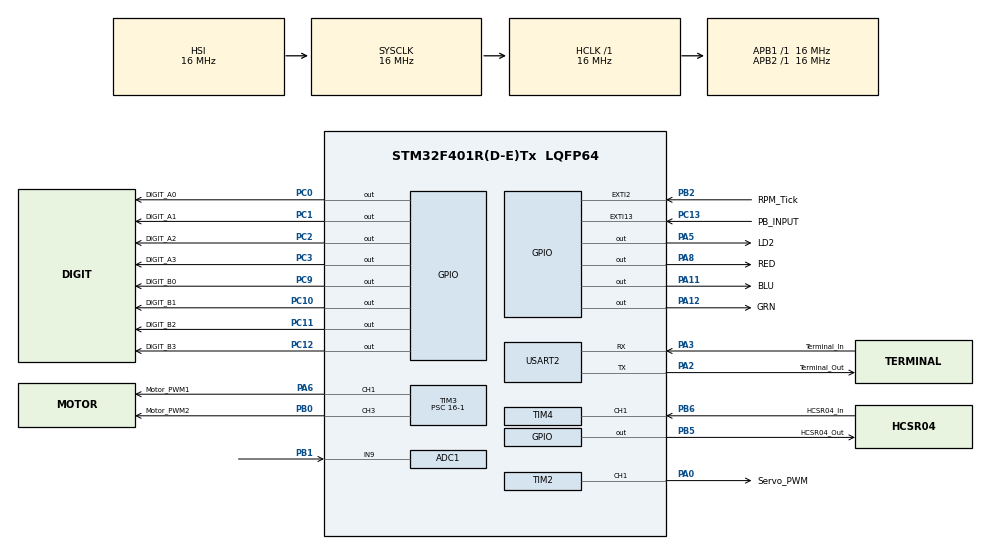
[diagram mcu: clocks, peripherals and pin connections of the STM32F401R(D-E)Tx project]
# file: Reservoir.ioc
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ADC1.Channel-0\#ChannelRegularConversion=ADC_CHANNEL_9
ADC1.NbrOfConversionFlag=1
ADC1.Rank-0\#ChannelRegularConversion=1
ADC1.Resolution=ADC_RESOLUTION_8B
ADC1.SamplingTime-0\#ChannelRegularConversion=ADC_SAMPLETIME_3CYCLES
ADC1.master=1
Mcu.Family=STM32F4
Mcu.Name=STM32F401R(D-E)Tx
Mcu.Package=LQFP64
NVIC.EXTI15_10_IRQn=true\:0\:0\:false\:false\:true\:true\:true\:true
NVIC.EXTI2_IRQn=true\:0\:0\:false\:false\:true\:true\:true\:true
NVIC.PriorityGroup=NVIC_PRIORITYGROUP_4
NVIC.TIM4_IRQn=true\:0\:0\:false\:false\:true\:true\:true\:true
NVIC.TIM5_IRQn=true\:0\:0\:false\:false\:true\:true\:true\:true
NVIC.USART2_IRQn=true\:0\:0\:false\:false\:true\:true\:true\:true
PA0-WKUP.GPIO_Label=Servo_PWM
PA0-WKUP.Signal=S_TIM2_CH1_ETR
PA11.GPIO_Label=BLU
PA11.Signal=GPIO_Output
PA12.GPIO_Label=GRN
PA12.Signal=GPIO_Output
PA13.GPIO_Label=TMS
PA13.Mode=Trace_Asynchronous_SW
PA13.Signal=SYS_JTMS-SWDIO
PA14.GPIO_Label=TCK
PA14.Mode=Trace_Asynchronous_SW
PA14.Signal=SYS_JTCK-SWCLK
PA2.GPIO_Label=Terminal_Out
PA2.GPIO_Mode=GPIO_MODE_AF_PP
PA2.GPIO_PuPd=GPIO_NOPULL
PA2.GPIO_Speed=GPIO_SPEED_FREQ_LOW
PA2.Mode=Asynchronous
PA2.Signal=USART2_TX
PA3.GPIO_Label=Terminal_In
PA3.GPIO_Mode=GPIO_MODE_AF_PP
PA3.GPIO_PuPd=GPIO_NOPULL
PA3.GPIO_Speed=GPIO_SPEED_FREQ_LOW
PA3.Mode=Asynchronous
PA3.Signal=USART2_RX
PA5.GPIO_Label=LD2
PA5.GPIO_Mode=GPIO_MODE_OUTPUT_PP
PA5.GPIO_PuPd=GPIO_NOPULL
PA5.GPIO_Speed=GPIO_SPEED_FREQ_LOW
PA5.Signal=GPIO_Output
PA6.GPIO_Label=Motor_PWM1
PA6.Signal=S_TIM3_CH1
PA8.GPIO_Label=RED
PA8.Signal=GPIO_Output
PB0.GPIO_Label=Motor_PWM2
PB0.Signal=S_TIM3_CH3
PB1.Signal=ADCx_IN9
PB2.GPIO_Label=RPM_Tick
PB2.Signal=GPXTI2
PB3.GPIO_Label=SWO
PB3.Mode=Trace_Asynchronous_SW
PB3.Signal=SYS_JTDO-SWO
PB5.GPIO_Label=HCSR04_Out
PB5.Signal=GPIO_Output
PB6.GPIO_Label=HCSR04_In
PB6.Signal=S_TIM4_CH1
PC0.GPIO_Label=DIGIT_A0
PC0.Signal=GPIO_Output
PC1.GPIO_Label=DIGIT_A1
PC1.Signal=GPIO_Output
PC10.GPIO_Label=DIGIT_B1
PC10.Signal=GPIO_Output
PC11.GPIO_Label=DIGIT_B2
PC11.Signal=GPIO_Output
PC12.GPIO_Label=DIGIT_B3
PC12.Signal=GPIO_Output
PC13-ANTI_TAMP.GPIO_Label=PB_INPUT
PC13-ANTI_TAMP.GPIO_ModeDefaultEXTI=GPIO_MODE_IT_FALLING
PC13-ANTI_TAMP.GPIO_PuPd=GPIO_NOPULL
PC13-ANTI_TAMP.Signal=GPXTI13
PC14-OSC32_IN.Mode=LSE-External-Oscillator
PC14-OSC32_IN.Signal=RCC_OSC32_IN
PC15-OSC32_OUT.Mode=LSE-External-Oscillator
PC15-OSC32_OUT.Signal=RCC_OSC32_OUT
PC2.GPIO_Label=DIGIT_A2
PC2.Signal=GPIO_Output
PC3.GPIO_Label=DIGIT_A3
PC3.Signal=GPIO_Output
PC9.GPIO_Label=DIGIT_B0
PC9.Signal=GPIO_Output
PH0\ -\ OSC_IN.Mode=HSE-External-Clock-Source
PH0\ -\ OSC_IN.Signal=RCC_OSC_IN
PH1\ -\ OSC_OUT.Mode=HSE-External-Clock-Source
PH1\ -\ OSC_OUT.Signal=RCC_OSC_OUT
ProjectManager.HeapSize=0x200
ProjectManager.StackSize=0x400
ProjectManager.TargetToolchain=STM32CubeIDE
RCC.48MHZClocksFreq_Value=48000000
RCC.AHBFreq_Value=16000000
RCC.APB1Freq_Value=16000000
RCC.APB1TimFreq_Value=16000000
RCC.APB2Freq_Value=16000000
RCC.APB2TimFreq_Value=16000000
RCC.CortexFreq_Value=16000000
RCC.HCLKFreq_Value=16000000
RCC.HSE_VALUE=8000000
RCC.HSI_VALUE=16000000
RCC.PLLN=336
RCC.PLLP=RCC_PLLP_DIV4
RCC.PLLQ=7
RCC.SYSCLKFreq_VALUE=16000000
RCC.VCOOutputFreq_Value=336000000
SH.ADCx_IN9.0=ADC1_IN9,IN9
SH.S_TIM2_CH1_ETR.0=TIM2_CH1,PWM Generation1 CH1
SH.S_TIM3_CH1.0=TIM3_CH1,PWM Generation1 CH1
SH.S_TIM3_CH3.0=TIM3_CH3,PWM Generation3 CH3
SH.S_TIM4_CH1.0=TIM4_CH1,Input_Capture1_from_TI1
TIM2.Channel-PWM\ Generation1\ CH1=TIM_CHANNEL_1
TIM2.Period=20000-1
TIM2.Prescaler=16-1
TIM2.Pulse-PWM\ Generation1\ CH1=500-1
TIM3.Channel-PWM\ Generation1\ CH1=TIM_CHANNEL_1
TIM3.Channel-PWM\ Generation3\ CH3=TIM_CHANNEL_3
TIM3.Period=2000-1
TIM3.Prescaler=16-1
TIM3.Pulse-PWM\ Generation1\ CH1=1200-1
TIM4.Channel-Input_Capture1_from_TI1=TIM_CHANNEL_1
TIM4.ICPolarity_CH1=TIM_INPUTCHANNELPOLARITY_BOTHEDGE
TIM4.Prescaler=16-1
TIM5.Period=60000-1
TIM5.Prescaler=53-1
USART2.VirtualMode=VM_ASYNC
VP_TIM3_VS_ClockSourceINT.Mode=Internal
VP_TIM4_VS_ClockSourceINT.Mode=Internal
VP_TIM5_VS_ClockSourceINT.Mode=Internal
board=NUCLEO-F401RE

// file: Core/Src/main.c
/* USER CODE BEGIN Header */
/**
  ******************************************************************************
  * @file           : main.c
  * @brief          : Main program body
  ******************************************************************************
  * @attention
  *
  * Copyright (c) 2026 STMicroelectronics.
  * All rights reserved.
  *
  * This software is licensed under terms that can be found in the LICENSE file
  * in the root directory of this software component.
  * If no LICENSE file comes with this software, it is provided AS-IS.
  *
  ******************************************************************************
  */
/* USER CODE END Header */
#include "main.h"

/* USER CODE BEGIN Includes */
#include <stdio.h>
#include <string.h>
/* USER CODE END Includes */

/* USER CODE BEGIN PTD */
typedef struct {
	uint8_t id;
	uint8_t pwm_option;
	uint8_t start_hour;
	uint8_t stop_hour;
} Pipeline;

typedef enum {
	SETUP,
	WAIT_B1,
	RUN,
	HALT
} Mode;
/* USER CODE END PTD */

/* USER CODE BEGIN PD */
#define TERM (&huart2)

#define FULL_PCT 		90	// any value greater than this counts as full
#define SLOTS_PER_REV 	20
#define D_FULL_CM		5
#define D_EMPTY_CM		30
#define BIT(v, n) (( (v) >> (n)) & 1 ? GPIO_PIN_SET : GPIO_PIN_RESET)
/* USER CODE END PD */

ADC_HandleTypeDef hadc1;

TIM_HandleTypeDef htim2;
TIM_HandleTypeDef htim3;
TIM_HandleTypeDef htim4;
TIM_HandleTypeDef htim5;

UART_HandleTypeDef huart2;

/* USER CODE BEGIN PV */
volatile uint8_t tick_flag 		= 0;
volatile uint32_t rpm_pulses 	= 0;
volatile uint8_t b1_flag 		= 0;
volatile uint8_t hcsr04_Rx_flag = 0;
volatile uint8_t first_edge 	= 0;
volatile uint16_t time_edge1	= 0;
volatile uint16_t time_edge2	= 0;
volatile uint8_t rcv_intpt_flag	= 0;
uint8_t byte;
uint8_t motor_dir = 0xFF;

Mode mode = SETUP;
uint8_t hour 	= 0;
uint8_t minute  = 0;

Pipeline *cur = NULL;
uint8_t cur_duty = 0;
uint8_t motor_on = 0;
uint8_t empty_event = 0;
uint8_t depth_pct 	= 0;
uint8_t filled = 0;

static const uint8_t duty_table[4] = {0, 70, 85, 99};
/* USER CODE END PV */

void SystemClock_Config(void);
static void MX_GPIO_Init(void);
static void MX_USART2_UART_Init(void);
static void MX_ADC1_Init(void);
static void MX_TIM2_Init(void);
static void MX_TIM3_Init(void);
static void MX_TIM4_Init(void);
static void MX_TIM5_Init(void);

/* USER CODE BEGIN 0 */
Pipeline plan[4];

void term_print(const char *s) {
	HAL_UART_Transmit(TERM, (uint8_t*)s, strlen(s), HAL_MAX_DELAY);
}

void HAL_TIM_PeriodElapsedCallback(TIM_HandleTypeDef *htim) {
	if (htim->Instance == TIM5) tick_flag = 1;
}

void HAL_GPIO_EXTI_Callback(uint16_t pin) {
	if (pin == RPM_Tick_Pin) rpm_pulses++;
	else if (pin == PB_INPUT_Pin) b1_flag = 1;
}

void motor_stop(void){
	TIM3->CCR1 = 0;
	TIM3->CCR3 = 0;
}

void motor_set(uint8_t duty, uint8_t reverse){
	uint32_t ccr = duty * 20;
	if (reverse != motor_dir) {
		motor_stop();
		HAL_Delay(100);
		motor_dir = reverse;
	}
	if (reverse) {
		TIM3->CCR1 = 0;
		TIM3->CCR3 = ccr;
	} else {
		TIM3->CCR3 = 0;
		TIM3->CCR1 = ccr;
	}
}
void servo_select(uint8_t id){
	static const uint16_t pulse[4] = {600, 1200, 1800, 2400};
    TIM2->CCR1 = pulse[id];
}

void rgb_write(uint8_t r, uint8_t g, uint8_t b) {
    HAL_GPIO_WritePin(RED_GPIO_Port, RED_Pin, r ? GPIO_PIN_SET : GPIO_PIN_RESET);
    HAL_GPIO_WritePin(GRN_GPIO_Port, GRN_Pin, g ? GPIO_PIN_SET : GPIO_PIN_RESET);
    HAL_GPIO_WritePin(BLU_GPIO_Port, BLU_Pin, b ? GPIO_PIN_SET : GPIO_PIN_RESET);
}

void rgb_set(uint8_t id){
    switch (id) {
    case 0: rgb_write(1, 0, 1); break;   // Inlet = 紫
    case 1: rgb_write(1, 0, 0); break;   // Zone 1 = 红
    case 2: rgb_write(0, 1, 0); break;   // Zone 2 = 绿
    case 3: rgb_write(0, 0, 1); break;   // Zone 3 = 蓝
    }
}

void rgb_off(void){
	rgb_write(0, 0, 0);
}

void rgb_white_toggle(void){
    static uint8_t on = 0;
    on = !on;
    rgb_write(on, on, on);
}

void HCSR04_TRIG_PULSE(void) {
    HAL_GPIO_WritePin(HCSR04_Out_GPIO_Port, HCSR04_Out_Pin, GPIO_PIN_SET);
    for (volatile int j = 0; j != 15; j = j + 1) {}
    HAL_GPIO_WritePin(HCSR04_Out_GPIO_Port, HCSR04_Out_Pin, GPIO_PIN_RESET);
}

uint8_t depth_read_pct(void){
    hcsr04_Rx_flag = 0;
    first_edge = 0;
    HCSR04_TRIG_PULSE();

    uint32_t t0 = HAL_GetTick();
    while (hcsr04_Rx_flag == 0) {
        if (HAL_GetTick() - t0 > 60) return depth_pct;
    }
    uint16_t time_diff = time_edge2 - time_edge1;
    int us_full  = D_FULL_CM  * 58;
    int us_empty = D_EMPTY_CM * 58;
    int pct = (us_empty - (int)time_diff) * 100 / (us_empty - us_full);
    if (pct < 0)  pct = 0;
    if (pct > 99) pct = 99;
    return (uint8_t)pct;
}

void display_show(uint8_t pct){
    uint8_t tens = pct / 10, ones = pct % 10;
    HAL_GPIO_WritePin(DIGIT_A0_GPIO_Port, DIGIT_A0_Pin, BIT(tens, 0));
    HAL_GPIO_WritePin(DIGIT_A1_GPIO_Port, DIGIT_A1_Pin, BIT(tens, 1));
    HAL_GPIO_WritePin(DIGIT_A2_GPIO_Port, DIGIT_A2_Pin, BIT(tens, 2));
    HAL_GPIO_WritePin(DIGIT_A3_GPIO_Port, DIGIT_A3_Pin, BIT(tens, 3));
    HAL_GPIO_WritePin(DIGIT_B0_GPIO_Port, DIGIT_B0_Pin, BIT(ones, 0));
    HAL_GPIO_WritePin(DIGIT_B1_GPIO_Port, DIGIT_B1_Pin, BIT(ones, 1));
    HAL_GPIO_WritePin(DIGIT_B2_GPIO_Port, DIGIT_B2_Pin, BIT(ones, 2));
    HAL_GPIO_WritePin(DIGIT_B3_GPIO_Port, DIGIT_B3_Pin, BIT(ones, 3));
}
uint8_t pot_read_pct(void){
	HAL_ADC_Start(&hadc1);
	HAL_ADC_PollForConversion(&hadc1, 1000);
	uint32_t v = HAL_ADC_GetValue(&hadc1);
	HAL_ADC_Stop(&hadc1);
	return (uint8_t)(v * 100 / 255);
}

int read_number(const char *prompt, int min, int max) {
	char buf[4];
	uint8_t len, c;
	while (1) {
		term_print(prompt);
		len = 0;
		while (1) {
			rcv_intpt_flag = 0;
			HAL_UART_Receive_IT(TERM, &byte, 1);
			while (rcv_intpt_flag == 0) {}
			c = byte;
            if (c == '\r' || c == '\n') { if (len) break; else continue; }
            if (c >= '0' && c <= '9' && len < 3) {
                buf[len++] = c;
                HAL_UART_Transmit(TERM, &c, 1, HAL_MAX_DELAY);
            }
		}
		term_print("\r\n");
		int v = 0;
        for (uint8_t i = 0; i < len; i++) v = v * 10 + (buf[i] - '0');
        if (v >= min && v <= max) return v;
        term_print("Invalid, try again\r\n");
	}
}

void run_setup(void) {
	static const char *ord[3] = {"FIRST", "SECOND", "THIRD"};
	char p[80];

	motor_stop();
	HAL_GPIO_WritePin(LD2_GPIO_Port, LD2_Pin, GPIO_PIN_RESET);
	term_print("\r\nSETUP MODE\r\n");

	plan[0].id = 0;
	plan[0].pwm_option = read_number("INLET PIPELINE PUMP MOTOR PMW (0-3): ", 0, 3);
	for (int i = 0; i < 3; i++) {
		sprintf(p, "%s ZONE CHOIC EFOR IRRIGATION (1-3): ", ord[i]);
		plan[i + 1].id = read_number(p, 1, 3);
		sprintf(p, "%s ZONE CHOICE FOR PUMP MOTOR PWM OPTION (1-3): ", ord[i]);
		plan[i + 1].pwm_option = read_number(p, 1, 3);
	}

	plan[0].start_hour = read_number("INLET WALL CLOCK START TIME (00-23): ", 0, 23);
	plan[0].stop_hour = read_number("INLET WALL CLOCK STOP TIME (00-23)", 0, 23);
	for(int i = 0; i < 3; i++) {
		sprintf(p, "%s ZONE WALL CLOCK START TIME (00-23): ", ord[i]);
		plan[i + 1].start_hour = read_number(p, 0, 23);
		sprintf(p, "%s ZONE WALL CLOCK STOP TIME (00-23): ", ord[i]);
		plan[i + 1].stop_hour = read_number(p, 0, 23);
	}

	term_print("\r\n--- SETUP SUMMARY ---\r\n");
    for (int i = 0; i < 4; i++) {
        if (plan[i].id == 0) sprintf(p, "INLET : ");
        else                 sprintf(p, "ZONE %d: ", plan[i].id);
        term_print(p);
        if (plan[i].pwm_option == 0) sprintf(p, "PWM = MANUAL, ");
        else sprintf(p, "PWM option %d (%d%%), ", plan[i].pwm_option, duty_table[plan[i].pwm_option]);
        term_print(p);
        sprintf(p, "start %02d:00, stop %02d:00\r\n", plan[i].start_hour, plan[i].stop_hour);
        term_print(p);
    }
    term_print("Press B1 to start RUN MODE\r\n");
}

void wait_b1(void) {
	b1_flag = 0;
	while (!b1_flag) {
		HAL_GPIO_TogglePin(LD2_GPIO_Port, LD2_Pin);
		HAL_Delay(200);
	}
	while (HAL_GPIO_ReadPin(PB_INPUT_GPIO_Port, PB_INPUT_Pin) == GPIO_PIN_RESET) {}
}

// decide what to do this hour
void begin_hour(void) {
	cur = NULL;
	for (int i = 0; i < 4; i++)
	        if (hour >= plan[i].start_hour && hour < plan[i].stop_hour) cur = &plan[i];

	   if (cur == NULL) { motor_stop(); motor_on = 0; cur_duty = 0; rgb_off(); return; }

	   servo_select(cur->id);
	   rgb_set(cur->id);

	   if(cur->id == 0 && depth_pct >= FULL_PCT) {
		   motor_stop();
		   motor_on = 0;
		   cur_duty = 0;
		   filled = 1;
		   return;
	   }
	   cur_duty = cur->pwm_option ? duty_table[cur->pwm_option] : pot_read_pct();
	   motor_set(cur_duty, cur->id == 0);
	   motor_on = 1;
}

void special_event(void) {
	motor_stop(); motor_on = 0;
	HAL_GPIO_WritePin(LD2_GPIO_Port, LD2_Pin, GPIO_PIN_RESET);
	term_print("*** RESERVOIR IS EMPTY ***\r\n");
	empty_event = 1;
	mode = HALT;
}

void end_hour(void) {
	char line[80];
	uint32_t rpm = rpm_pulses * 6 /SLOTS_PER_REV;

	depth_pct = depth_read_pct();
	display_show(depth_pct);

	if(cur) {
		char name[8];
		if(cur->id == 0){
			sprintf(name, "INLET");
		} else {
			sprintf(name, "ZONE %d", cur->id);
		}
        sprintf(line, "%02d:00 | %-6s | %3d%% | %5lu | %2d%%\r\n",
                hour, name, cur_duty, rpm, depth_pct);
	} else {
        sprintf(line, "%02d:00 |        |      | %5lu | %2d%%\r\n",
                hour, rpm, depth_pct);
	}
	term_print(line);

    if (cur && cur->id == 0 &&
        (depth_pct >= FULL_PCT || hour + 1 >= cur->stop_hour)) filled = 1;

    if (filled && depth_pct == 0) { special_event(); return; }

    if (++hour == 24) {
        motor_stop(); motor_on = 0; rgb_off();
        HAL_GPIO_WritePin(LD2_GPIO_Port, LD2_Pin, GPIO_PIN_RESET);
        term_print("24 HOURS DONE - press RESET\r\n");
        mode = HALT;
        return;
    }
    begin_hour();
}

void start_run(void) {
	hour = 0;
	minute = 0;
	filled = 0;
	empty_event = 0;
	HAL_GPIO_WritePin(LD2_GPIO_Port, LD2_Pin, GPIO_PIN_SET);
    term_print("\r\nRUN MODE\r\n");
    term_print("Time  | Pipe   | PWM  |  RPM  | Depth\r\n");
    depth_pct = depth_read_pct();
    display_show(depth_pct);
    __HAL_TIM_SET_COUNTER(&htim5, 0);
    tick_flag = 0;
    begin_hour();
}

void HAL_UART_RxCpltCallback(UART_HandleTypeDef *huart) {
    if (huart->Instance == USART2) rcv_intpt_flag = 1;
}

void HAL_TIM_IC_CaptureCallback(TIM_HandleTypeDef *htim) {
    if (htim->Instance == TIM4 && htim->Channel == HAL_TIM_ACTIVE_CHANNEL_1) {
        if (first_edge == 0) {
            time_edge1 = HAL_TIM_ReadCapturedValue(htim, TIM_CHANNEL_1);
            first_edge = 1;
        } else {
            time_edge2 = HAL_TIM_ReadCapturedValue(htim, TIM_CHANNEL_1);
            hcsr04_Rx_flag = 1;
        }
    }
}
/* USER CODE END 0 */

int main(void)
{

  /* MCU Configuration--------------------------------------------------------*/

  /* Reset of all peripherals, Initializes the Flash interface and the Systick. */
  HAL_Init();

  /* Configure the system clock */
  SystemClock_Config();

  /* Initialize all configured peripherals */
  MX_GPIO_Init();
  MX_USART2_UART_Init();
  MX_ADC1_Init();
  MX_TIM2_Init();
  MX_TIM3_Init();
  MX_TIM4_Init();
  MX_TIM5_Init();
  /* USER CODE BEGIN 2 */
  TIM3->CCR1 = 0;
  TIM3->CCR3 = 0;
  HAL_TIM_PWM_Start(&htim3, TIM_CHANNEL_1);
  HAL_TIM_PWM_Start(&htim3, TIM_CHANNEL_3);
  HAL_TIM_PWM_Start(&htim2, TIM_CHANNEL_1);
  HAL_TIM_Base_Start(&htim4);
  HAL_TIM_IC_Start_IT(&htim4, TIM_CHANNEL_1);
  HAL_TIM_Base_Start_IT(&htim5);
  /* USER CODE END 2 */

  /* Infinite loop */
  while (1)
  {

    /* USER CODE BEGIN 3 */
	  switch (mode) {
	  case SETUP:
	      run_setup();
	      mode = WAIT_B1;
	      break;

	  case WAIT_B1:
	      wait_b1();
	      start_run();
	      mode = RUN;
	      break;

	  case RUN:
	      if (tick_flag) {
	          tick_flag = 0;
	          minute++;
	          if (minute == 10) rpm_pulses = 0;
	          if (cur && motor_on && cur->pwm_option == 0) {
	              cur_duty = pot_read_pct();
	              motor_set(cur_duty, cur->id == 0);
	          }
	          if (minute == 60) { minute = 0; end_hour(); }
	      }
	      break;

	  case HALT:
	      if (empty_event) { rgb_white_toggle(); HAL_Delay(250); }
	      break;
	  }
  }
  /* USER CODE END 3 */
}

void SystemClock_Config(void)
{
  RCC_OscInitTypeDef RCC_OscInitStruct = {0};
  RCC_ClkInitTypeDef RCC_ClkInitStruct = {0};

  /** Configure the main internal regulator output voltage
  */
  __HAL_RCC_PWR_CLK_ENABLE();
  __HAL_PWR_VOLTAGESCALING_CONFIG(PWR_REGULATOR_VOLTAGE_SCALE2);

  /** Initializes the RCC Oscillators according to the specified parameters
  * in the RCC_OscInitTypeDef structure.
  */
  RCC_OscInitStruct.OscillatorType = RCC_OSCILLATORTYPE_HSI;
  RCC_OscInitStruct.HSIState = RCC_HSI_ON;
  RCC_OscInitStruct.HSICalibrationValue = RCC_HSICALIBRATION_DEFAULT;
  RCC_OscInitStruct.PLL.PLLState = RCC_PLL_NONE;
  if (HAL_RCC_OscConfig(&RCC_OscInitStruct) != HAL_OK)
  {
    Error_Handler();
  }

  /** Initializes the CPU, AHB and APB buses clocks
  */
  RCC_ClkInitStruct.ClockType = RCC_CLOCKTYPE_HCLK|RCC_CLOCKTYPE_SYSCLK
                              |RCC_CLOCKTYPE_PCLK1|RCC_CLOCKTYPE_PCLK2;
  RCC_ClkInitStruct.SYSCLKSource = RCC_SYSCLKSOURCE_HSI;
  RCC_ClkInitStruct.AHBCLKDivider = RCC_SYSCLK_DIV1;
  RCC_ClkInitStruct.APB1CLKDivider = RCC_HCLK_DIV1;
  RCC_ClkInitStruct.APB2CLKDivider = RCC_HCLK_DIV1;

  if (HAL_RCC_ClockConfig(&RCC_ClkInitStruct, FLASH_LATENCY_0) != HAL_OK)
  {
    Error_Handler();
  }
}

static void MX_ADC1_Init(void)
{

  ADC_ChannelConfTypeDef sConfig = {0};

  /** Configure the global features of the ADC (Clock, Resolution, Data Alignment and number of conversion)
  */
  hadc1.Instance = ADC1;
  hadc1.Init.ClockPrescaler = ADC_CLOCK_SYNC_PCLK_DIV2;
  hadc1.Init.Resolution = ADC_RESOLUTION_8B;
  hadc1.Init.ScanConvMode = DISABLE;
  hadc1.Init.ContinuousConvMode = DISABLE;
  hadc1.Init.DiscontinuousConvMode = DISABLE;
  hadc1.Init.ExternalTrigConvEdge = ADC_EXTERNALTRIGCONVEDGE_NONE;
  hadc1.Init.ExternalTrigConv = ADC_SOFTWARE_START;
  hadc1.Init.DataAlign = ADC_DATAALIGN_RIGHT;
  hadc1.Init.NbrOfConversion = 1;
  hadc1.Init.DMAContinuousRequests = DISABLE;
  hadc1.Init.EOCSelection = ADC_EOC_SINGLE_CONV;
  if (HAL_ADC_Init(&hadc1) != HAL_OK)
  {
    Error_Handler();
  }

  /** Configure for the selected ADC regular channel its corresponding rank in the sequencer and its sample time.
  */
  sConfig.Channel = ADC_CHANNEL_9;
  sConfig.Rank = 1;
  sConfig.SamplingTime = ADC_SAMPLETIME_3CYCLES;
  if (HAL_ADC_ConfigChannel(&hadc1, &sConfig) != HAL_OK)
  {
    Error_Handler();
  }

}

static void MX_TIM2_Init(void)
{

  TIM_MasterConfigTypeDef sMasterConfig = {0};
  TIM_OC_InitTypeDef sConfigOC = {0};

  htim2.Instance = TIM2;
  htim2.Init.Prescaler = 16-1;
  htim2.Init.CounterMode = TIM_COUNTERMODE_UP;
  htim2.Init.Period = 20000-1;
  htim2.Init.ClockDivision = TIM_CLOCKDIVISION_DIV1;
  htim2.Init.AutoReloadPreload = TIM_AUTORELOAD_PRELOAD_DISABLE;
  if (HAL_TIM_PWM_Init(&htim2) != HAL_OK)
  {
    Error_Handler();
  }
  sMasterConfig.MasterOutputTrigger = TIM_TRGO_RESET;
  sMasterConfig.MasterSlaveMode = TIM_MASTERSLAVEMODE_DISABLE;
  if (HAL_TIMEx_MasterConfigSynchronization(&htim2, &sMasterConfig) != HAL_OK)
  {
    Error_Handler();
  }
  sConfigOC.OCMode = TIM_OCMODE_PWM1;
  sConfigOC.Pulse = 500-1;
  sConfigOC.OCPolarity = TIM_OCPOLARITY_HIGH;
  sConfigOC.OCFastMode = TIM_OCFAST_DISABLE;
  if (HAL_TIM_PWM_ConfigChannel(&htim2, &sConfigOC, TIM_CHANNEL_1) != HAL_OK)
  {
    Error_Handler();
  }
  HAL_TIM_MspPostInit(&htim2);

}

static void MX_TIM3_Init(void)
{

  TIM_ClockConfigTypeDef sClockSourceConfig = {0};
  TIM_MasterConfigTypeDef sMasterConfig = {0};
  TIM_OC_InitTypeDef sConfigOC = {0};

  htim3.Instance = TIM3;
  htim3.Init.Prescaler = 16-1;
  htim3.Init.CounterMode = TIM_COUNTERMODE_UP;
  htim3.Init.Period = 2000-1;
  htim3.Init.ClockDivision = TIM_CLOCKDIVISION_DIV1;
  htim3.Init.AutoReloadPreload = TIM_AUTORELOAD_PRELOAD_DISABLE;
  if (HAL_TIM_Base_Init(&htim3) != HAL_OK)
  {
    Error_Handler();
  }
  sClockSourceConfig.ClockSource = TIM_CLOCKSOURCE_INTERNAL;
  if (HAL_TIM_ConfigClockSource(&htim3, &sClockSourceConfig) != HAL_OK)
  {
    Error_Handler();
  }
  if (HAL_TIM_PWM_Init(&htim3) != HAL_OK)
  {
    Error_Handler();
  }
  sMasterConfig.MasterOutputTrigger = TIM_TRGO_RESET;
  sMasterConfig.MasterSlaveMode = TIM_MASTERSLAVEMODE_DISABLE;
  if (HAL_TIMEx_MasterConfigSynchronization(&htim3, &sMasterConfig) != HAL_OK)
  {
    Error_Handler();
  }
  sConfigOC.OCMode = TIM_OCMODE_PWM1;
  sConfigOC.Pulse = 1200-1;
  sConfigOC.OCPolarity = TIM_OCPOLARITY_HIGH;
  sConfigOC.OCFastMode = TIM_OCFAST_DISABLE;
  if (HAL_TIM_PWM_ConfigChannel(&htim3, &sConfigOC, TIM_CHANNEL_1) != HAL_OK)
  {
    Error_Handler();
  }
  sConfigOC.Pulse = 0;
  if (HAL_TIM_PWM_ConfigChannel(&htim3, &sConfigOC, TIM_CHANNEL_3) != HAL_OK)
  {
    Error_Handler();
  }
  HAL_TIM_MspPostInit(&htim3);

}

static void MX_TIM4_Init(void)
{

  TIM_ClockConfigTypeDef sClockSourceConfig = {0};
  TIM_MasterConfigTypeDef sMasterConfig = {0};
  TIM_IC_InitTypeDef sConfigIC = {0};

  htim4.Instance = TIM4;
  htim4.Init.Prescaler = 16-1;
  htim4.Init.CounterMode = TIM_COUNTERMODE_UP;
  htim4.Init.Period = 65535;
  htim4.Init.ClockDivision = TIM_CLOCKDIVISION_DIV1;
  htim4.Init.AutoReloadPreload = TIM_AUTORELOAD_PRELOAD_DISABLE;
  if (HAL_TIM_Base_Init(&htim4) != HAL_OK)
  {
    Error_Handler();
  }
  sClockSourceConfig.ClockSource = TIM_CLOCKSOURCE_INTERNAL;
  if (HAL_TIM_ConfigClockSource(&htim4, &sClockSourceConfig) != HAL_OK)
  {
    Error_Handler();
  }
  if (HAL_TIM_IC_Init(&htim4) != HAL_OK)
  {
    Error_Handler();
  }
  sMasterConfig.MasterOutputTrigger = TIM_TRGO_RESET;
  sMasterConfig.MasterSlaveMode = TIM_MASTERSLAVEMODE_DISABLE;
  if (HAL_TIMEx_MasterConfigSynchronization(&htim4, &sMasterConfig) != HAL_OK)
  {
    Error_Handler();
  }
  sConfigIC.ICPolarity = TIM_INPUTCHANNELPOLARITY_BOTHEDGE;
  sConfigIC.ICSelection = TIM_ICSELECTION_DIRECTTI;
  sConfigIC.ICPrescaler = TIM_ICPSC_DIV1;
  sConfigIC.ICFilter = 0;
  if (HAL_TIM_IC_ConfigChannel(&htim4, &sConfigIC, TIM_CHANNEL_1) != HAL_OK)
  {
    Error_Handler();
  }

}

static void MX_TIM5_Init(void)
{

  TIM_ClockConfigTypeDef sClockSourceConfig = {0};
  TIM_MasterConfigTypeDef sMasterConfig = {0};

  htim5.Instance = TIM5;
  htim5.Init.Prescaler = 53-1;
  htim5.Init.CounterMode = TIM_COUNTERMODE_UP;
  htim5.Init.Period = 60000-1;
  htim5.Init.ClockDivision = TIM_CLOCKDIVISION_DIV1;
  htim5.Init.AutoReloadPreload = TIM_AUTORELOAD_PRELOAD_DISABLE;
  if (HAL_TIM_Base_Init(&htim5) != HAL_OK)
  {
    Error_Handler();
  }
  sClockSourceConfig.ClockSource = TIM_CLOCKSOURCE_INTERNAL;
  if (HAL_TIM_ConfigClockSource(&htim5, &sClockSourceConfig) != HAL_OK)
  {
    Error_Handler();
  }
  sMasterConfig.MasterOutputTrigger = TIM_TRGO_RESET;
  sMasterConfig.MasterSlaveMode = TIM_MASTERSLAVEMODE_DISABLE;
  if (HAL_TIMEx_MasterConfigSynchronization(&htim5, &sMasterConfig) != HAL_OK)
  {
    Error_Handler();
  }

}

static void MX_USART2_UART_Init(void)
{

  huart2.Instance = USART2;
  huart2.Init.BaudRate = 115200;
  huart2.Init.WordLength = UART_WORDLENGTH_8B;
  huart2.Init.StopBits = UART_STOPBITS_1;
  huart2.Init.Parity = UART_PARITY_NONE;
  huart2.Init.Mode = UART_MODE_TX_RX;
  huart2.Init.HwFlowCtl = UART_HWCONTROL_NONE;
  huart2.Init.OverSampling = UART_OVERSAMPLING_16;
  if (HAL_UART_Init(&huart2) != HAL_OK)
  {
    Error_Handler();
  }

}

static void MX_GPIO_Init(void)
{
  GPIO_InitTypeDef GPIO_InitStruct = {0};

  /* GPIO Ports Clock Enable */
  __HAL_RCC_GPIOC_CLK_ENABLE();
  __HAL_RCC_GPIOH_CLK_ENABLE();
  __HAL_RCC_GPIOA_CLK_ENABLE();
  __HAL_RCC_GPIOB_CLK_ENABLE();

  /*Configure GPIO pin Output Level */
  HAL_GPIO_WritePin(GPIOC, DIGIT_A0_Pin|DIGIT_A1_Pin|DIGIT_A2_Pin|DIGIT_A3_Pin
                          |DIGIT_B0_Pin|DIGIT_B1_Pin|DIGIT_B2_Pin|DIGIT_B3_Pin, GPIO_PIN_RESET);

  /*Configure GPIO pin Output Level */
  HAL_GPIO_WritePin(GPIOA, LD2_Pin|RED_Pin|BLU_Pin|GRN_Pin, GPIO_PIN_RESET);

  /*Configure GPIO pin Output Level */
  HAL_GPIO_WritePin(HCSR04_Out_GPIO_Port, HCSR04_Out_Pin, GPIO_PIN_RESET);

  /*Configure GPIO pin : PB_INPUT_Pin */
  GPIO_InitStruct.Pin = PB_INPUT_Pin;
  GPIO_InitStruct.Mode = GPIO_MODE_IT_FALLING;
  GPIO_InitStruct.Pull = GPIO_NOPULL;
  HAL_GPIO_Init(PB_INPUT_GPIO_Port, &GPIO_InitStruct);

  /*Configure GPIO pins : DIGIT_A0_Pin DIGIT_A1_Pin DIGIT_A2_Pin DIGIT_A3_Pin
                           DIGIT_B0_Pin DIGIT_B1_Pin DIGIT_B2_Pin DIGIT_B3_Pin */
  GPIO_InitStruct.Pin = DIGIT_A0_Pin|DIGIT_A1_Pin|DIGIT_A2_Pin|DIGIT_A3_Pin
                          |DIGIT_B0_Pin|DIGIT_B1_Pin|DIGIT_B2_Pin|DIGIT_B3_Pin;
  GPIO_InitStruct.Mode = GPIO_MODE_OUTPUT_PP;
  GPIO_InitStruct.Pull = GPIO_NOPULL;
  GPIO_InitStruct.Speed = GPIO_SPEED_FREQ_LOW;
  HAL_GPIO_Init(GPIOC, &GPIO_InitStruct);

  /*Configure GPIO pins : LD2_Pin RED_Pin BLU_Pin GRN_Pin */
  GPIO_InitStruct.Pin = LD2_Pin|RED_Pin|BLU_Pin|GRN_Pin;
  GPIO_InitStruct.Mode = GPIO_MODE_OUTPUT_PP;
  GPIO_InitStruct.Pull = GPIO_NOPULL;
  GPIO_InitStruct.Speed = GPIO_SPEED_FREQ_LOW;
  HAL_GPIO_Init(GPIOA, &GPIO_InitStruct);

  /*Configure GPIO pin : RPM_Tick_Pin */
  GPIO_InitStruct.Pin = RPM_Tick_Pin;
  GPIO_InitStruct.Mode = GPIO_MODE_IT_RISING;
  GPIO_InitStruct.Pull = GPIO_NOPULL;
  HAL_GPIO_Init(RPM_Tick_GPIO_Port, &GPIO_InitStruct);

  /*Configure GPIO pin : HCSR04_Out_Pin */
  GPIO_InitStruct.Pin = HCSR04_Out_Pin;
  GPIO_InitStruct.Mode = GPIO_MODE_OUTPUT_PP;
  GPIO_InitStruct.Pull = GPIO_NOPULL;
  GPIO_InitStruct.Speed = GPIO_SPEED_FREQ_LOW;
  HAL_GPIO_Init(HCSR04_Out_GPIO_Port, &GPIO_InitStruct);

  /* EXTI interrupt init*/
  HAL_NVIC_SetPriority(EXTI2_IRQn, 0, 0);
  HAL_NVIC_EnableIRQ(EXTI2_IRQn);

  HAL_NVIC_SetPriority(EXTI15_10_IRQn, 0, 0);
  HAL_NVIC_EnableIRQ(EXTI15_10_IRQn);

}

void Error_Handler(void)
{
  __disable_irq();
  while (1)
  {
  }
}
